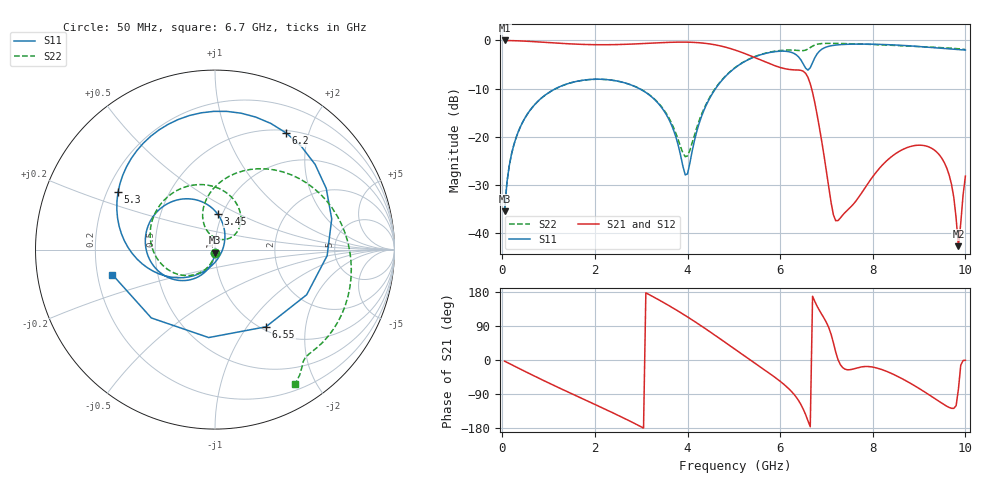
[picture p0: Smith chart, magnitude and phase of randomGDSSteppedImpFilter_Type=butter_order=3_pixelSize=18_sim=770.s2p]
! freq	dB(S11)	phase(S11)	dB(S12)	phase(S12)
!  dB(S21)	phase(S21)	dB(S22)	phase(S22)
!S-par simulation data
#  GHz  S  DB  R 50
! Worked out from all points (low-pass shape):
!   200 points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, 50 MHz to 10 GHz, reference 50 ohm
!   highest |S21| = -0.01 dB at 50 MHz (marker M1); lowest = -42.7 dB at 9.85 GHz (marker M2)
!   |S21| within 3 dB of the highest: start of sweep to 5.311 GHz
!   lowest |S11| = -35.5 dB at 50 MHz (marker M3), VSWR 1.03, Z = 49.9 - j1.68 ohm
!   |S11| at or under -10 dB: start of sweep to 1.155 GHz; 2.958 GHz to 4.607 GHz (1.649 GHz wide, 43.6 % of centre)
!   |S22| runs from -35.5 to -0.6 dB; largest |S21 - S12| = 0
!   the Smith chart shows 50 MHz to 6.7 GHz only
!   S11 on the Smith chart (normalised r, x): 50 MHz: 1.00, -0.03; 3.45 GHz: 0.95, +0.39; 5.3 GHz: 0.24, +0.26; 6.2 GHz: 0.53, +1.65; 6.55 GHz: 1.05, -1.23; 6.7 GHz: 0.26, -0.11
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0.05  -35.47 -92.4  -0.01 -3.1  -0.01 -3.1  -35.48 -93.0
0.5  -15.94 -118.2  -0.15 -30.8  -0.15 -30.8  -15.94 -124.4
1.75  -8.26 177.7  -0.83 -103.2  -0.83 -103.2  -8.27 154.8
3.4  -13.44 89.2  -0.48 157.3  -0.48 157.3  -13.32 48.0
3.45  -14.06 85.6  -0.46 153.9  -0.46 153.9  -13.91 45.2
4  -27.73 -45.7  -0.36 113.7  -0.36 113.7  -23.99 84.9
4.4  -13.52 -133.8  -0.62 81.5  -0.62 81.5  -13.25 108.4
5.05  -5.52 170.2  -2.07 26.2  -2.07 26.2  -5.47 57.6
5.3  -4.05 149.5  -2.96 4.8  -2.96 4.8  -4.00 36.1
6.2  -2.37 58.6  -6.04 -77.5  -6.04 -77.5  -1.99 -33.7
6.4  -3.45 14.7  -6.15 -107.5  -6.15 -107.5  -2.10 -45.8
6.55  -5.76 -56.6  -6.84 -144.2  -6.84 -144.2  -2.01 -51.6
6.7  -4.60 -166.4  -10.80 168.3  -10.80 168.3  -1.19 -59.3
6.9  -1.83 118.9  -21.09 120.1  -21.09 120.1  -0.65 -75.1
7.2  -0.97 71.4  -37.44 20.7  -37.44 20.7  -0.62 -96.2
7.75  -0.76 20.0  -31.82 -18.4  -31.82 -18.4  -0.76 -131.2
8.35  -0.89 -28.4  -24.57 -32.6  -24.57 -32.6  -0.98 -169.9
8.95  -1.23 -79.9  -21.78 -71.4  -21.78 -71.4  -1.26 147.9
9.45  -1.63 -129.8  -23.92 -110.6  -23.92 -110.6  -1.49 109.0
9.7  -1.81 -158.0  -29.89 -127.5  -29.89 -127.5  -1.62 88.1
9.85  -1.91 -176.0  -42.73 -76.5  -42.73 -76.5  -1.74 75.1
10  -2.00 165.3  -28.18 -0.7  -28.18 -0.7  -1.89 61.8
